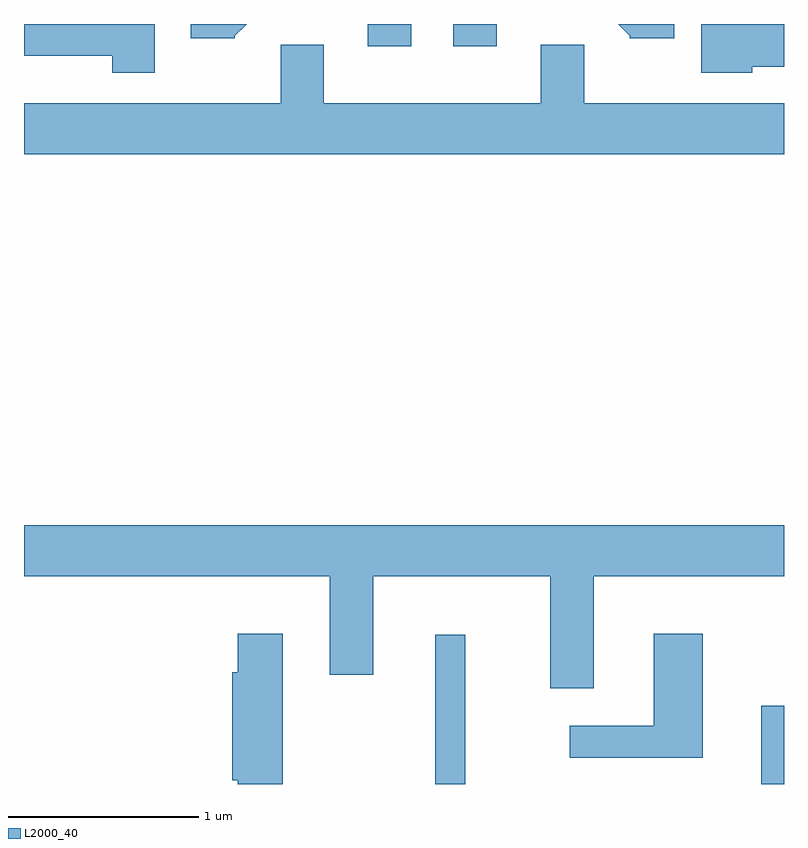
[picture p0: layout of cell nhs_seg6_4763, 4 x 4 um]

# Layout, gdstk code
import gdstk
lib = gdstk.Library(unit=1e-6, precision=1e-09)
def R(c, l, rs):  # rectangles x0, y0, x1, y1
    for r in rs: c.add(gdstk.rectangle(r[:2], r[2:], *l))
def P(c, l, *ps):  # polygons
    for p in ps: c.add(gdstk.Polygon(p, *l))
L2000_40 = (2000, 40)

nhs_seg6_4763 = lib.new_cell('nhs_seg6_4763')
R(nhs_seg6_4763, L2000_40, [(331.776,1662.162,331.934,1662.948), (333.491,1662.162,333.611,1662.574), (331.421,1666.046,331.649,1666.162), (331.871,1666.046,332.099,1666.162)])
P(nhs_seg6_4763, L2000_40, [(333.444,1665.936),(333.611,1665.936),(333.611,1666.162),(333.176,1666.162),(333.176,1665.906),(333.444,1665.906)],
  [(330.299,1666.162),(329.611,1666.162),(329.611,1665.996),(330.076,1665.996),(330.076,1665.906),(330.299,1665.906)],
  [(333.033,1666.162),(332.738,1666.162),(332.8,1666.1),(332.8,1666.086),(333.033,1666.086)],
  [(330.72,1666.1),(330.783,1666.162),(330.488,1666.162),(330.488,1666.086),(330.72,1666.086)],
  [(332.331,1666.054),(332.331,1665.744),(331.189,1665.744),(331.189,1666.054),(330.961,1666.054),(330.961,1665.744),(329.611,1665.744),(329.611,1665.476),(333.611,1665.476),(333.611,1665.744),(332.559,1665.744),(332.559,1666.054)],
  [(332.609,1663.256),(333.611,1663.256),(333.611,1663.524),(329.611,1663.524),(329.611,1663.256),(331.221,1663.256),(331.221,1662.736),(331.449,1662.736),(331.449,1663.256),(332.381,1663.256),(332.381,1662.666),(332.609,1662.666)],
  [(330.974,1662.954),(330.736,1662.954),(330.736,1662.749),(330.706,1662.749),(330.706,1662.181),(330.736,1662.181),(330.736,1662.162),(330.974,1662.162)],
  [(333.184,1662.954),(332.926,1662.954),(332.926,1662.469),(332.483,1662.469),(332.483,1662.301),(333.184,1662.301)])

lib.write_gds('nhs_seg6_4763.gds')
